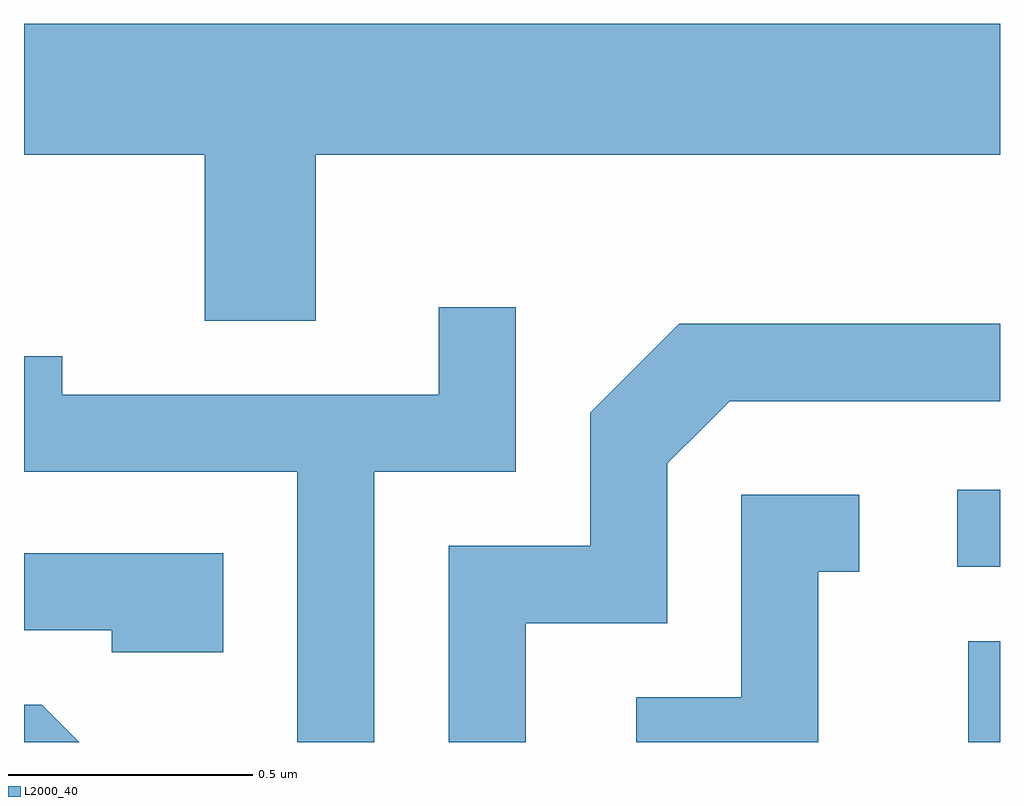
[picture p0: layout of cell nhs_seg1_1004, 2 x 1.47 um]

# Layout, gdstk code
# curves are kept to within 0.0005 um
import gdstk
lib = gdstk.Library(unit=1e-6, precision=1e-09)
def R(c, l, rs):  # rectangles x0, y0, x1, y1
    for r in rs: c.add(gdstk.rectangle(r[:2], r[2:], *l))
def P(c, l, *ps):  # polygons
    for p in ps: c.add(gdstk.Polygon(p, *l))
L2000_40 = (2000, 40)

nhs_seg1_1004 = lib.new_cell('nhs_seg1_1004')
R(nhs_seg1_1004, L2000_40, [(194.546,891.712,194.611,891.919), (194.523,892.071,194.611,892.229)])
P(nhs_seg1_1004, L2000_40, [(193.209,892.916),(194.611,892.916),(194.611,893.184),(192.611,893.184),(192.611,892.916),(192.981,892.916),(192.981,892.576),(193.209,892.576)],
  [(193.329,892.266),(193.619,892.266),(193.619,892.603),(193.461,892.603),(193.461,892.424),(192.689,892.424),(192.689,892.503),(192.611,892.503),(192.611,892.266),(193.171,892.266),(193.171,891.712),(193.329,891.712)],
  [(193.639,891.956),(193.929,891.956),(193.929,892.284),(194.057,892.411),(194.611,892.411),(194.611,892.569),(193.954,892.569),(193.771,892.387),(193.771,892.114),(193.481,892.114),(193.481,891.712),(193.639,891.712)],
  [(194.239,892.061),(194.323,892.061),(194.323,892.219),(194.081,892.219),(194.081,891.804),(193.866,891.804),(193.866,891.712),(194.239,891.712)],
  [(193.019,892.099),(192.611,892.099),(192.611,891.941),(192.791,891.941),(192.791,891.896),(193.019,891.896)],
  [(192.647,891.789),(192.611,891.789),(192.611,891.712),(192.724,891.712)])

lib.write_gds('nhs_seg1_1004.gds')
